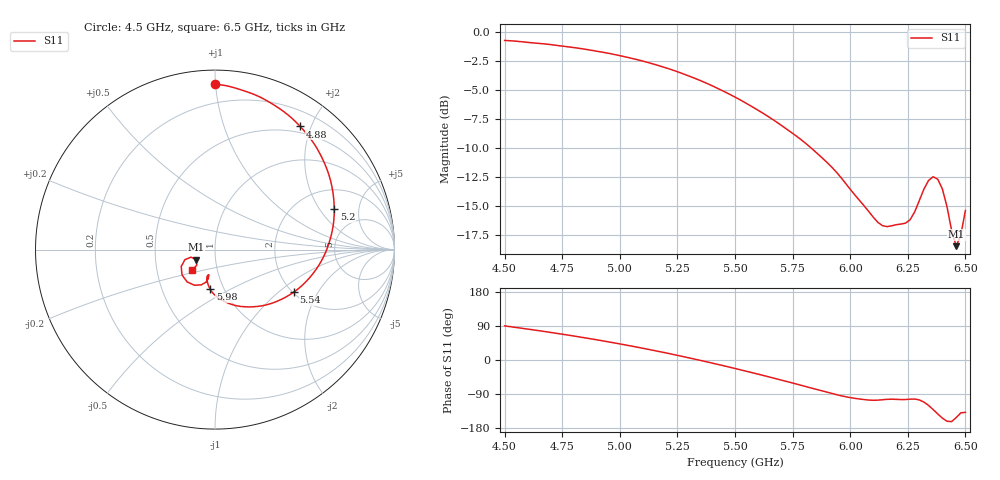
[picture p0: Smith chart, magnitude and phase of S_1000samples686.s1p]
! TOUCHSTONE file generated by CST MICROWAVE STUDIO
! Date and time: Sat Oct 29 00:54:52 2022
! Project name: L.cst
! Parameters = {Di=1.27; Epsilon_r=1.56; InnerDiameter=1.27; Length=2; Lf=10; Lg=60; OuterConductorThickness=0.2921; OuterDiameter=3.6; Wf=3; Wp=41.2; de=1.5; df=6.8; g=0.8; gx=3.49356; gy=3.84923; h=2.34; hf=1.524; px=13.9779; py=10.6755; w=9.7; wx=10.4843; wy=6.82628}
! Header version: 2018
! Port assignment regex: !\s*Touchstone port\s*([0-9]+)\s*=\s*(CST MWS port|CST DS port)\s*([0-9]+|Zmin|Zmax)\s*\(\"(.*)\"\)(\s*mode\s*([0-9]+))?.*
! Touchstone port assignment:
! Touchstone port 1 = CST MWS port 1 ("")
# GHz S DB R 50
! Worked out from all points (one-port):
!   101 points, 4.5 GHz to 6.5 GHz, reference 50 ohm
!   lowest |S11| = -18.5 dB at 6.46 GHz (marker M1), VSWR 1.27, Z = 40.2 - j4.55 ohm
!   |S11| at or under -10 dB: 5.83 GHz to end of sweep
!   S11 on the Smith chart (normalised r, x): 4.5 GHz: 0.08, +1.00; 4.88 GHz: 0.41, +1.84; 5.2 GHz: 3.11, +2.76; 5.54 GHz: 2.03, -1.28; 5.98 GHz: 0.86, -0.40; 6.5 GHz: 0.76, -0.18
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4.5  -0.71 90.0
4.64  -0.95 78.2
4.76  -1.22 67.2
4.88  -1.57 55.3
5  -2.02 42.5
5.1  -2.49 31.0
5.2  -3.08 18.7
5.26  -3.48 11.0
5.38  -4.44 -5.2
5.5  -5.60 -22.4
5.54  -6.04 -28.3
5.66  -7.48 -46.6
5.76  -8.88 -62.3
5.88  -10.88 -81.7
5.98  -13.05 -96.9
6  -13.56 -99.2
6.14  -16.70 -104.9
6.26  -16.19 -103.4
6.3  -14.54 -105.3
6.34  -12.80 -119.8
6.36  -12.48 -130.7
6.38  -12.69 -142.3
6.4  -13.53 -153.4
6.42  -15.05 -161.5
6.44  -17.09 -162.6
6.46  -18.47 -152.1
6.48  -17.52 -139.5
6.5  -15.40 -138.1
